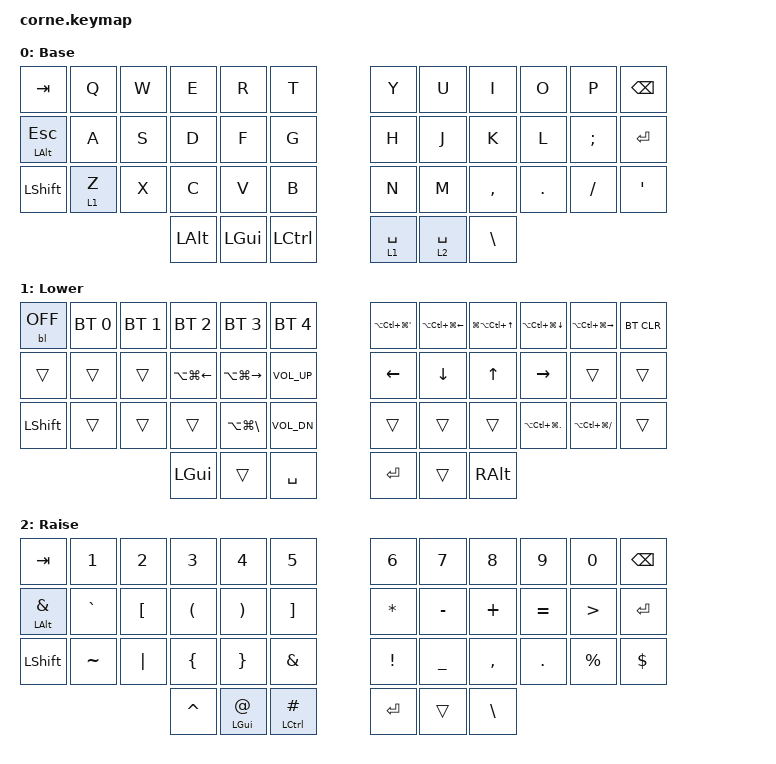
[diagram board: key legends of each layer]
/*
 * Copyright (c) 2020 The ZMK Contributors
 *
 * SPDX-License-Identifier: MIT
 */

#include <behaviors.dtsi>
#include <dt-bindings/zmk/backlight.h>
#include <dt-bindings/zmk/bt.h>
#include <dt-bindings/zmk/keys.h>

/ {
    keymap {
        compatible = "zmk,keymap";

        default_layer {
            // -----------------------------------------------------------------------------------------
            // |  TAB |  Q  |  W  |  E  |  R  |  T  |   |  Y  |  U   |  I  |  O  |  P  | BKSP |
            // | CTRL |  A  |  S  |  D  |  F  |  G  |   |  H  |  J   |  K  |  L  |  ;  |  '   |
            // | SHFT |  Z  |  X  |  C  |  V  |  B  |   |  N  |  M   |  ,  |  .  |  /  | ESC  |
            //                    | GUI | LWR | SPC |   | ENT | RSE  | ALT |

            display-name = "Base";
            bindings = <
&kp TAB       &kp Q    &kp W  &kp E         &kp R     &kp T        &kp Y        &kp U        &kp I          &kp O    &kp P     &kp BSPC
&mt LALT ESC  &kp A    &kp S  &kp D         &kp F     &kp G        &kp H        &kp J        &kp K          &kp L    &kp SEMI  &kp RET
&kp LSHFT     &lt 1 Z  &kp X  &kp C         &kp V     &kp B        &kp N        &kp M        &kp COMMA      &kp DOT  &kp FSLH  &kp SQT
                              &kp LEFT_ALT  &kp LGUI  &kp LCTRL    &lt 1 SPACE  &lt 2 SPACE  &kp BACKSLASH
            >;
        };

        lower_layer {
            // -----------------------------------------------------------------------------------------
            // |  TAB |  1  |  2  |  3  |  4  |  5  |   |  6  |  7  |  8  |  9  |  0  | BKSP |
            // | BTCLR| BT1 | BT2 | BT3 | BT4 | BT5 |   | LFT | DWN |  UP | RGT |     |      |
            // | SHFT |     |     |     |     |     |   |     |     |     |     |     |      |
            //                    | GUI |     | SPC |   | ENT |     | ALT |

            display-name = "Lower";
            bindings = <
&bl BL_OFF  &bt BT_SEL 0  &bt BT_SEL 1  &bt BT_SEL 2            &bt BT_SEL 3             &bt BT_SEL 4    &kp LA(LC(LG(SINGLE_QUOTE)))  &kp LA(LC(LG(LEFT_ARROW)))  &kp LG(LA(LC(UP_ARROW)))  &kp LA(LC(LG(DOWN_ARROW)))  &kp LA(LC(LG(RIGHT_ARROW)))  &bt BT_CLR
&trans      &trans        &trans        &kp LA(LG(LEFT_ARROW))  &kp LA(LG(RIGHT_ARROW))  &kp C_VOL_UP    &kp LEFT                      &kp DOWN                    &kp UP                    &kp RIGHT                   &trans                       &trans
&kp LSHFT   &trans        &trans        &trans                  &kp LA(LG(BACKSLASH))    &kp C_VOL_DN    &trans                        &trans                      &trans                    &kp LA(LC(LG(PERIOD)))      &kp LA(LC(LG(SLASH)))        &trans
                                        &kp LGUI                &trans                   &kp SPACE       &kp RET                       &trans                      &kp RALT
            >;
        };

        raise_layer {
            // -----------------------------------------------------------------------------------------
            // |  TAB |  !  |  @  |  #  |  $  |  %  |   |  ^  |  &  |  *  |  (  |  )  | BKSP |
            // | CTRL |     |     |     |     |     |   |  -  |  =  |  [  |  ]  |  \  |  `   |
            // | SHFT |     |     |     |     |     |   |  _  |  +  |  {  |  }  | "|" |  ~   |
            //                    | GUI |     | SPC |   | ENT |     | ALT |

            display-name = "Raise";
            bindings = <
&kp TAB             &kp N1     &kp N2    &kp N3                &kp N4                 &kp N5                   &kp N6           &kp N7          &kp N8         &kp N9      &kp N0            &kp BSPC
&mt LALT AMPERSAND  &kp GRAVE  &kp LBKT  &kp LEFT_PARENTHESIS  &kp RIGHT_PARENTHESIS  &kp RBKT                 &kp ASTERISK     &kp MINUS       &kp PLUS       &kp EQUAL   &kp GREATER_THAN  &kp RET
&kp LSHFT           &kp TILDE  &kp PIPE  &kp LEFT_BRACE        &kp RIGHT_BRACE        &kp AMPERSAND            &kp EXCLAMATION  &kp UNDERSCORE  &kp COMMA      &kp PERIOD  &kp PERCENT       &kp DOLLAR
                                         &kp CARET             &mt LGUI AT            &mt LEFT_CONTROL HASH    &kp RET          &trans          &kp BACKSLASH
            >;
        };

        extra_1 { status = "reserved"; };

        extra_2 { status = "reserved"; };

        extra_3 { status = "reserved"; };
    };
};
